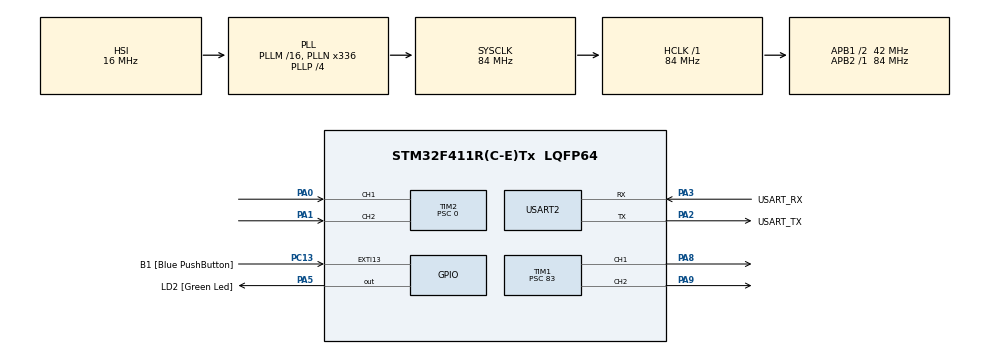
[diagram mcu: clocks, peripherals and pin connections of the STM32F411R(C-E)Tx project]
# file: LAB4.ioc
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ARM.CMSIS.5.6.0.CMSISJjCORE=true
ARM.CMSIS.5.6.0.CMSISJjDSP=Library
Mcu.Family=STM32F4
Mcu.Name=STM32F411R(C-E)Tx
Mcu.Package=LQFP64
NVIC.PriorityGroup=NVIC_PRIORITYGROUP_0
PA0-WKUP.Signal=S_TIM2_CH1_ETR
PA1.Signal=S_TIM2_CH2
PA13.GPIO_Label=TMS
PA13.Mode=Trace_Asynchronous_SW
PA13.Signal=SYS_JTMS-SWDIO
PA14.GPIO_Label=TCK
PA14.Mode=Trace_Asynchronous_SW
PA14.Signal=SYS_JTCK-SWCLK
PA2.GPIO_Label=USART_TX
PA2.Mode=Asynchronous
PA2.Signal=USART2_TX
PA3.GPIO_Label=USART_RX
PA3.Mode=Asynchronous
PA3.Signal=USART2_RX
PA5.GPIO_Label=LD2 [Green Led]
PA5.Signal=GPIO_Output
PA8.Signal=S_TIM1_CH1
PA9.Signal=S_TIM1_CH2
PB3.GPIO_Label=SWO
PB3.Mode=Trace_Asynchronous_SW
PB3.Signal=SYS_JTDO-SWO
PC13-ANTI_TAMP.GPIO_Label=B1 [Blue PushButton]
PC13-ANTI_TAMP.GPIO_ModeDefaultEXTI=GPIO_MODE_IT_FALLING
PC13-ANTI_TAMP.Signal=GPXTI13
PC14-OSC32_IN.Mode=LSE-External-Oscillator
PC14-OSC32_IN.Signal=RCC_OSC32_IN
PC15-OSC32_OUT.Mode=LSE-External-Oscillator
PC15-OSC32_OUT.Signal=RCC_OSC32_OUT
PH0\ -\ OSC_IN.Mode=HSE-External-Clock-Source
PH0\ -\ OSC_IN.Signal=RCC_OSC_IN
PH1\ -\ OSC_OUT.Mode=HSE-External-Clock-Source
PH1\ -\ OSC_OUT.Signal=RCC_OSC_OUT
ProjectManager.HeapSize=0x200
ProjectManager.StackSize=0x400
ProjectManager.TargetToolchain=STM32CubeIDE
RCC.48MHZClocksFreq_Value=84000000
RCC.AHBFreq_Value=84000000
RCC.APB1CLKDivider=RCC_HCLK_DIV2
RCC.APB1Freq_Value=42000000
RCC.APB1TimFreq_Value=84000000
RCC.APB2Freq_Value=84000000
RCC.APB2TimFreq_Value=84000000
RCC.CortexFreq_Value=84000000
RCC.FLatency-AdvancedSettings=FLASH_LATENCY_2
RCC.HCLKFreq_Value=84000000
RCC.HSE_VALUE=8000000
RCC.HSI_VALUE=16000000
RCC.PLLN=336
RCC.PLLP=RCC_PLLP_DIV4
RCC.SYSCLKFreq_VALUE=84000000
RCC.SYSCLKSource=RCC_SYSCLKSOURCE_PLLCLK
RCC.VCOOutputFreq_Value=336000000
SH.S_TIM1_CH1.0=TIM1_CH1,PWM Generation1 CH1
SH.S_TIM1_CH2.0=TIM1_CH2,PWM Generation2 CH2
SH.S_TIM2_CH1_ETR.0=TIM2_CH1,Encoder_Interface
SH.S_TIM2_CH2.0=TIM2_CH2,Encoder_Interface
TIM1.Channel-PWM\ Generation1\ CH1=TIM_CHANNEL_1
TIM1.Channel-PWM\ Generation2\ CH2=TIM_CHANNEL_2
TIM1.Period=999
TIM1.Prescaler=83
TIM2.EncoderMode=TIM_ENCODERMODE_TI12
TIM2.Period=307199
TIM2.Prescaler=0
USART2.VirtualMode=VM_ASYNC
VP_ARM.CMSIS_VS_CMSISJjCORE_5.3.0_5.6.0.Mode=CMSISJjCORE
VP_ARM.CMSIS_VS_CMSISJjDSP_1.7.0_5.6.0.Mode=CMSISJjDSP
VP_TIM1_VS_ClockSourceINT.Mode=Internal
board=NUCLEO-F411RE

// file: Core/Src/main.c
/* USER CODE BEGIN Header */
/**
  ******************************************************************************
  * @file           : main.c
  * @brief          : Main program body
  ******************************************************************************
  * @attention
  *
  * Copyright (c) 2023 STMicroelectronics.
  * All rights reserved.
  *
  * This software is licensed under terms that can be found in the LICENSE file
  * in the root directory of this software component.
  * If no LICENSE file comes with this software, it is provided AS-IS.
  *
  ******************************************************************************
  */
/* USER CODE END Header */
#include "main.h"

/* USER CODE BEGIN Includes */
#include "math.h"
/* USER CODE END Includes */

TIM_HandleTypeDef htim1;
TIM_HandleTypeDef htim2;

UART_HandleTypeDef huart2;

/* USER CODE BEGIN PV */
int64_t QEIReadRaw;
float duty = 0;

float setPoint = 0;
float error = 0;
float last_error = 0;
float integralE = 0;
float debydt = 0;
float kp = 100;
float ki = 0.01;
float kd = 0;
float u = 0;

float Tdelta  = 0.01;

float Lastposition = 0;
/* USER CODE END PV */

void SystemClock_Config(void);
static void MX_GPIO_Init(void);
static void MX_USART2_UART_Init(void);
static void MX_TIM2_Init(void);
static void MX_TIM1_Init(void);
/* USER CODE BEGIN PFP */
float PlantSimulation(float Vin);
/* USER CODE END PFP */

int main(void)
{

  /* MCU Configuration--------------------------------------------------------*/

  /* Reset of all peripherals, Initializes the Flash interface and the Systick. */
  HAL_Init();

  /* Configure the system clock */
  SystemClock_Config();

  /* Initialize all configured peripherals */
  MX_GPIO_Init();
  MX_USART2_UART_Init();
  MX_TIM2_Init();
  MX_TIM1_Init();
  /* USER CODE BEGIN 2 */
  HAL_TIM_Base_Start(&htim1);
  HAL_TIM_PWM_Start(&htim1, TIM_CHANNEL_1);
  HAL_TIM_PWM_Start(&htim1, TIM_CHANNEL_2);

  HAL_TIM_Encoder_Start(&htim2, TIM_CHANNEL_1 | TIM_CHANNEL_2);

  /* USER CODE END 2 */

  /* Infinite loop */
  while (1)
  {

    /* USER CODE BEGIN 3 */
	 static uint32_t timestamp = 0;
	 if(HAL_GetTick()>timestamp)
	 {
		 timestamp = HAL_GetTick() + 10; // f = 100 HZ // 1 sec = 1000 ms

		 QEIReadRaw = __HAL_TIM_GET_COUNTER(&htim2);
		 Lastposition = (QEIReadRaw / 307200.0) * 36000;

		 error = setPoint - Lastposition;
		 debydt = (error - last_error) / Tdelta;
		 integralE = integralE + (error*Tdelta);

		 u = (kp*error) + (kd*debydt) + (ki*integralE);

		 duty = fabs(u);

		 if(u < 0){
			 __HAL_TIM_SET_COMPARE(&htim1, TIM_CHANNEL_1, duty);
			 __HAL_TIM_SET_COMPARE(&htim1, TIM_CHANNEL_2, 0);
		 }
		 else if(u > 0){
		 	__HAL_TIM_SET_COMPARE(&htim1, TIM_CHANNEL_1, 0);
		 	__HAL_TIM_SET_COMPARE(&htim1, TIM_CHANNEL_2, duty);
		 }

		 last_error = error;
	 }

  }
  /* USER CODE END 3 */
}

void SystemClock_Config(void)
{
  RCC_OscInitTypeDef RCC_OscInitStruct = {0};
  RCC_ClkInitTypeDef RCC_ClkInitStruct = {0};

  /** Configure the main internal regulator output voltage
  */
  __HAL_RCC_PWR_CLK_ENABLE();
  __HAL_PWR_VOLTAGESCALING_CONFIG(PWR_REGULATOR_VOLTAGE_SCALE1);

  /** Initializes the RCC Oscillators according to the specified parameters
  * in the RCC_OscInitTypeDef structure.
  */
  RCC_OscInitStruct.OscillatorType = RCC_OSCILLATORTYPE_HSI;
  RCC_OscInitStruct.HSIState = RCC_HSI_ON;
  RCC_OscInitStruct.HSICalibrationValue = RCC_HSICALIBRATION_DEFAULT;
  RCC_OscInitStruct.PLL.PLLState = RCC_PLL_ON;
  RCC_OscInitStruct.PLL.PLLSource = RCC_PLLSOURCE_HSI;
  RCC_OscInitStruct.PLL.PLLM = 16;
  RCC_OscInitStruct.PLL.PLLN = 336;
  RCC_OscInitStruct.PLL.PLLP = RCC_PLLP_DIV4;
  RCC_OscInitStruct.PLL.PLLQ = 4;
  if (HAL_RCC_OscConfig(&RCC_OscInitStruct) != HAL_OK)
  {
    Error_Handler();
  }

  /** Initializes the CPU, AHB and APB buses clocks
  */
  RCC_ClkInitStruct.ClockType = RCC_CLOCKTYPE_HCLK|RCC_CLOCKTYPE_SYSCLK
                              |RCC_CLOCKTYPE_PCLK1|RCC_CLOCKTYPE_PCLK2;
  RCC_ClkInitStruct.SYSCLKSource = RCC_SYSCLKSOURCE_PLLCLK;
  RCC_ClkInitStruct.AHBCLKDivider = RCC_SYSCLK_DIV1;
  RCC_ClkInitStruct.APB1CLKDivider = RCC_HCLK_DIV2;
  RCC_ClkInitStruct.APB2CLKDivider = RCC_HCLK_DIV1;

  if (HAL_RCC_ClockConfig(&RCC_ClkInitStruct, FLASH_LATENCY_2) != HAL_OK)
  {
    Error_Handler();
  }
}

static void MX_TIM1_Init(void)
{

  TIM_ClockConfigTypeDef sClockSourceConfig = {0};
  TIM_MasterConfigTypeDef sMasterConfig = {0};
  TIM_OC_InitTypeDef sConfigOC = {0};
  TIM_BreakDeadTimeConfigTypeDef sBreakDeadTimeConfig = {0};

  htim1.Instance = TIM1;
  htim1.Init.Prescaler = 83;
  htim1.Init.CounterMode = TIM_COUNTERMODE_UP;
  htim1.Init.Period = 999;
  htim1.Init.ClockDivision = TIM_CLOCKDIVISION_DIV1;
  htim1.Init.RepetitionCounter = 0;
  htim1.Init.AutoReloadPreload = TIM_AUTORELOAD_PRELOAD_DISABLE;
  if (HAL_TIM_Base_Init(&htim1) != HAL_OK)
  {
    Error_Handler();
  }
  sClockSourceConfig.ClockSource = TIM_CLOCKSOURCE_INTERNAL;
  if (HAL_TIM_ConfigClockSource(&htim1, &sClockSourceConfig) != HAL_OK)
  {
    Error_Handler();
  }
  if (HAL_TIM_PWM_Init(&htim1) != HAL_OK)
  {
    Error_Handler();
  }
  sMasterConfig.MasterOutputTrigger = TIM_TRGO_RESET;
  sMasterConfig.MasterSlaveMode = TIM_MASTERSLAVEMODE_DISABLE;
  if (HAL_TIMEx_MasterConfigSynchronization(&htim1, &sMasterConfig) != HAL_OK)
  {
    Error_Handler();
  }
  sConfigOC.OCMode = TIM_OCMODE_PWM1;
  sConfigOC.Pulse = 0;
  sConfigOC.OCPolarity = TIM_OCPOLARITY_HIGH;
  sConfigOC.OCNPolarity = TIM_OCNPOLARITY_HIGH;
  sConfigOC.OCFastMode = TIM_OCFAST_DISABLE;
  sConfigOC.OCIdleState = TIM_OCIDLESTATE_RESET;
  sConfigOC.OCNIdleState = TIM_OCNIDLESTATE_RESET;
  if (HAL_TIM_PWM_ConfigChannel(&htim1, &sConfigOC, TIM_CHANNEL_1) != HAL_OK)
  {
    Error_Handler();
  }
  if (HAL_TIM_PWM_ConfigChannel(&htim1, &sConfigOC, TIM_CHANNEL_2) != HAL_OK)
  {
    Error_Handler();
  }
  sBreakDeadTimeConfig.OffStateRunMode = TIM_OSSR_DISABLE;
  sBreakDeadTimeConfig.OffStateIDLEMode = TIM_OSSI_DISABLE;
  sBreakDeadTimeConfig.LockLevel = TIM_LOCKLEVEL_OFF;
  sBreakDeadTimeConfig.DeadTime = 0;
  sBreakDeadTimeConfig.BreakState = TIM_BREAK_DISABLE;
  sBreakDeadTimeConfig.BreakPolarity = TIM_BREAKPOLARITY_HIGH;
  sBreakDeadTimeConfig.AutomaticOutput = TIM_AUTOMATICOUTPUT_DISABLE;
  if (HAL_TIMEx_ConfigBreakDeadTime(&htim1, &sBreakDeadTimeConfig) != HAL_OK)
  {
    Error_Handler();
  }
  HAL_TIM_MspPostInit(&htim1);

}

static void MX_TIM2_Init(void)
{

  TIM_Encoder_InitTypeDef sConfig = {0};
  TIM_MasterConfigTypeDef sMasterConfig = {0};

  htim2.Instance = TIM2;
  htim2.Init.Prescaler = 0;
  htim2.Init.CounterMode = TIM_COUNTERMODE_UP;
  htim2.Init.Period = 307199;
  htim2.Init.ClockDivision = TIM_CLOCKDIVISION_DIV1;
  htim2.Init.AutoReloadPreload = TIM_AUTORELOAD_PRELOAD_DISABLE;
  sConfig.EncoderMode = TIM_ENCODERMODE_TI12;
  sConfig.IC1Polarity = TIM_ICPOLARITY_RISING;
  sConfig.IC1Selection = TIM_ICSELECTION_DIRECTTI;
  sConfig.IC1Prescaler = TIM_ICPSC_DIV1;
  sConfig.IC1Filter = 0;
  sConfig.IC2Polarity = TIM_ICPOLARITY_RISING;
  sConfig.IC2Selection = TIM_ICSELECTION_DIRECTTI;
  sConfig.IC2Prescaler = TIM_ICPSC_DIV1;
  sConfig.IC2Filter = 0;
  if (HAL_TIM_Encoder_Init(&htim2, &sConfig) != HAL_OK)
  {
    Error_Handler();
  }
  sMasterConfig.MasterOutputTrigger = TIM_TRGO_RESET;
  sMasterConfig.MasterSlaveMode = TIM_MASTERSLAVEMODE_DISABLE;
  if (HAL_TIMEx_MasterConfigSynchronization(&htim2, &sMasterConfig) != HAL_OK)
  {
    Error_Handler();
  }

}

static void MX_USART2_UART_Init(void)
{

  huart2.Instance = USART2;
  huart2.Init.BaudRate = 115200;
  huart2.Init.WordLength = UART_WORDLENGTH_8B;
  huart2.Init.StopBits = UART_STOPBITS_1;
  huart2.Init.Parity = UART_PARITY_NONE;
  huart2.Init.Mode = UART_MODE_TX_RX;
  huart2.Init.HwFlowCtl = UART_HWCONTROL_NONE;
  huart2.Init.OverSampling = UART_OVERSAMPLING_16;
  if (HAL_UART_Init(&huart2) != HAL_OK)
  {
    Error_Handler();
  }

}

static void MX_GPIO_Init(void)
{
  GPIO_InitTypeDef GPIO_InitStruct = {0};

  /* GPIO Ports Clock Enable */
  __HAL_RCC_GPIOC_CLK_ENABLE();
  __HAL_RCC_GPIOH_CLK_ENABLE();
  __HAL_RCC_GPIOA_CLK_ENABLE();
  __HAL_RCC_GPIOB_CLK_ENABLE();

  /*Configure GPIO pin Output Level */
  HAL_GPIO_WritePin(LD2_GPIO_Port, LD2_Pin, GPIO_PIN_RESET);

  /*Configure GPIO pin : B1_Pin */
  GPIO_InitStruct.Pin = B1_Pin;
  GPIO_InitStruct.Mode = GPIO_MODE_IT_FALLING;
  GPIO_InitStruct.Pull = GPIO_NOPULL;
  HAL_GPIO_Init(B1_GPIO_Port, &GPIO_InitStruct);

  /*Configure GPIO pin : LD2_Pin */
  GPIO_InitStruct.Pin = LD2_Pin;
  GPIO_InitStruct.Mode = GPIO_MODE_OUTPUT_PP;
  GPIO_InitStruct.Pull = GPIO_NOPULL;
  GPIO_InitStruct.Speed = GPIO_SPEED_FREQ_LOW;
  HAL_GPIO_Init(LD2_GPIO_Port, &GPIO_InitStruct);

}

void Error_Handler(void)
{
  __disable_irq();
  while (1)
  {
  }
}
